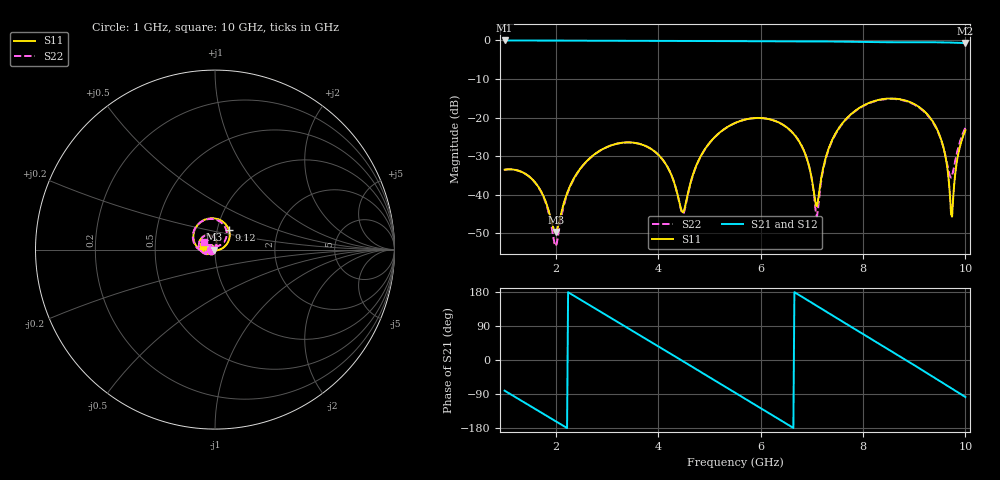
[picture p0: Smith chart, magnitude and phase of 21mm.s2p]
! Touchstone file exported from HFSS 2018.2.0
!  File:  C:/Users/10024/OneDrive - The University of Nottingham Ningbo China/Year 4/Final Year Project/HFSS project/Passive_Resonator_Antenna.aedt
!  Generated:  11:26:55 上午  3月 12, 2022
!  Design:  SMA_Thru
!  Project:  Passive_Resonator_Antenna
!  Setup:  Setup1
!  Solution:  Sweep
! Variables:
!  MW = 1.992mm
!  ThruL = 21mm
!  g = 0.2mm
!  subH = 0.8mm
!  subX = 20mm
!  subY = 31mm
!  tapW = 1.992mm
# GHZ S MA R 50.000000
! Modal data exported
! Port[1] = SMA_CONNECTOR1_1:1
! Port[2] = SMA_CONNECTOR2_1:1
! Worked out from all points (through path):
!   451 points, 1 GHz to 10 GHz, reference 50 ohm
!   highest |S21| = -0.02 dB at 1 GHz (marker M1); lowest = -0.7 dB at 10 GHz (marker M2)
!   group delay of S21, straight-line fit = 227 ps
!   lowest |S11| = -49.6 dB at 2 GHz (marker M3), VSWR 1.01, Z = 49.7 - j0.103 ohm
!   |S11| at or under -10 dB: start of sweep to end of sweep
!   |S22| runs from -53.3 to -15.2 dB; largest |S21 - S12| = 2.7e-14
!   S11 on the Smith chart (normalised r, x): 1 GHz: 0.96, -0.01; 9.12 GHz: 1.14, +0.25; 10 GHz: 0.88, +0.04
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1  0.02117 -169.4  0.9974 -80.9  0.9974 -80.9  0.02116 -169.6
! Gamma ! 0.0151858380091301 30.3716836111854 0.0151858380091179 30.3716836112015
! Port Impedance50 0 50 0
1.64  0.01324 146.4  0.9948 -132.7  0.9948 -132.7  0.01314 143.1
2  0.003293 -161.6  0.9931 -161.8  0.9931 -161.8  0.002163 -161.3
2.22  0.01045 -111.9  0.992 -179.6  0.992 -179.6  0.01003 -105.0
2.5  0.02282 -123.5  0.9906 157.7  0.9906 157.7  0.02258 -119.8
3.26  0.04687 -177.3  0.987 96.2  0.987 96.2  0.04681 -175.5
4  0.03315 129.4  0.9852 36.2  0.9852 36.2  0.0332 130.4
4.48  0.005944 171.8  0.9841 -2.9  0.9841 -2.9  0.005655 171.3
4.88  0.03607 -139.9  0.9818 -35.6  0.9818 -35.6  0.0358 -138.3
5.5  0.08508 176.2  0.9763 -86.2  0.9763 -86.2  0.08484 177.5
5.96  0.09897 140.6  0.9728 -123.7  0.9728 -123.7  0.09883 141.7
6.5  0.07562 99.0  0.9716 -167.8  0.9716 -167.8  0.07567 99.8
6.82  0.04064 77.8  0.9713 165.9  0.9713 165.9  0.04078 77.3
7  0.01605 79.1  0.9705 151.0  0.9705 151.0  0.01587 74.6
7.1  0.007134 144.2  0.9698 142.8  0.9698 142.8  0.005256 142.6
7.34  0.04151 -164.6  0.967 122.9  0.967 122.9  0.04038 -159.9
7.74  0.1068 168.3  0.9595 89.8  0.9595 89.8  0.1055 171.9
8.5  0.1764 107.0  0.9462 27.5  0.9462 27.5  0.1744 111.5
9.12  0.1333 54.3  0.946 -23.6  0.946 -23.6  0.1312 62.7
9.52  0.05353 16.1  0.9422 -57.3  0.9422 -57.3  0.05253 39.3
9.72  0.005638 -54.1  0.9362 -74.2  0.9362 -74.2  0.01671 95.4
10  0.06863 162.3  0.9225 -97.7  0.9225 -97.7  0.07413 145.5
